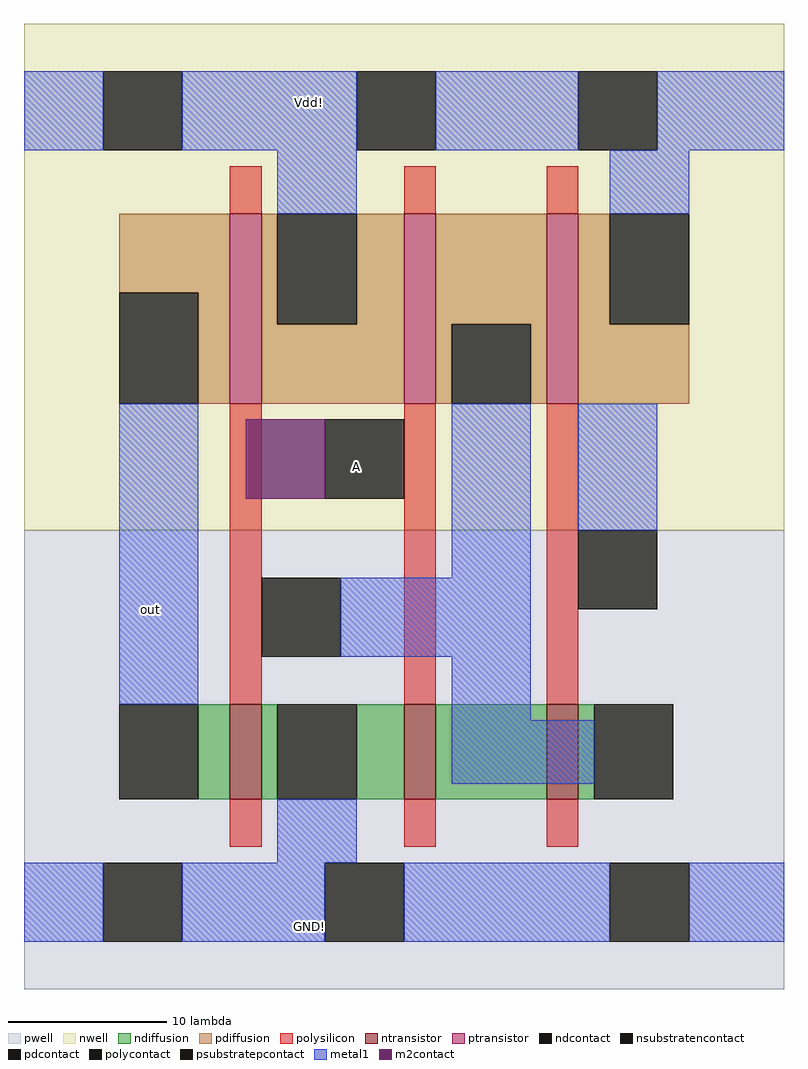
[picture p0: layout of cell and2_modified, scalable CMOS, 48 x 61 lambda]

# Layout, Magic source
magic
tech scmos
<< nwell >>
rect -12 26 36 58
<< pwell >>
rect -12 -3 36 26
<< ntransistor >>
rect 1 9 3 15
rect 12 9 14 15
rect 21 9 23 15
<< ptransistor >>
rect 1 34 3 46
rect 12 34 14 46
rect 21 34 23 46
<< ndiffusion >>
rect -1 9 1 15
rect 3 9 4 15
rect 9 9 12 15
rect 14 9 21 15
rect 23 9 24 15
<< pdiffusion >>
rect -6 41 1 46
rect -1 34 1 41
rect 3 39 4 46
rect 9 39 12 46
rect 3 34 12 39
rect 14 39 21 46
rect 14 34 15 39
rect 20 34 21 39
rect 23 39 25 46
rect 23 34 30 39
<< ndcontact >>
rect -6 9 -1 15
rect 4 9 9 15
rect 24 9 29 15
<< pdcontact >>
rect -6 34 -1 41
rect 4 39 9 46
rect 15 34 20 39
rect 25 39 30 46
<< psubstratepcontact >>
rect -7 0 -2 5
rect 7 0 12 5
rect 25 0 30 5
<< nsubstratencontact >>
rect -7 50 -2 55
rect 9 50 14 55
rect 23 50 28 55
<< polysilicon >>
rect 1 46 3 49
rect 12 46 14 49
rect 21 46 23 49
rect 1 15 3 34
rect 12 15 14 34
rect 21 15 23 34
rect 1 6 3 9
rect 12 6 14 9
rect 21 6 23 9
<< polycontact >>
rect 7 28 12 33
rect 3 18 8 23
rect 23 21 28 26
<< metal1 >>
rect -12 50 -7 55
rect -2 50 9 55
rect 14 50 23 55
rect 28 50 36 55
rect 4 46 9 50
rect 25 46 30 50
rect -6 15 -1 34
rect 15 23 20 34
rect 8 18 20 23
rect 23 26 28 34
rect 15 14 20 18
rect 15 10 24 14
rect 4 5 9 9
rect -12 0 -7 5
rect -2 0 7 5
rect 12 0 25 5
rect 30 0 36 5
<< m2contact >>
rect 2 28 7 33
<< labels >>
rlabel metal1 6 1 6 1 2 GND!
rlabel metal1 6 53 6 53 4 Vdd!
rlabel polycontact 9 30 9 30 1 A
rlabel metal1 -4 21 -4 21 1 out
<< end >>
